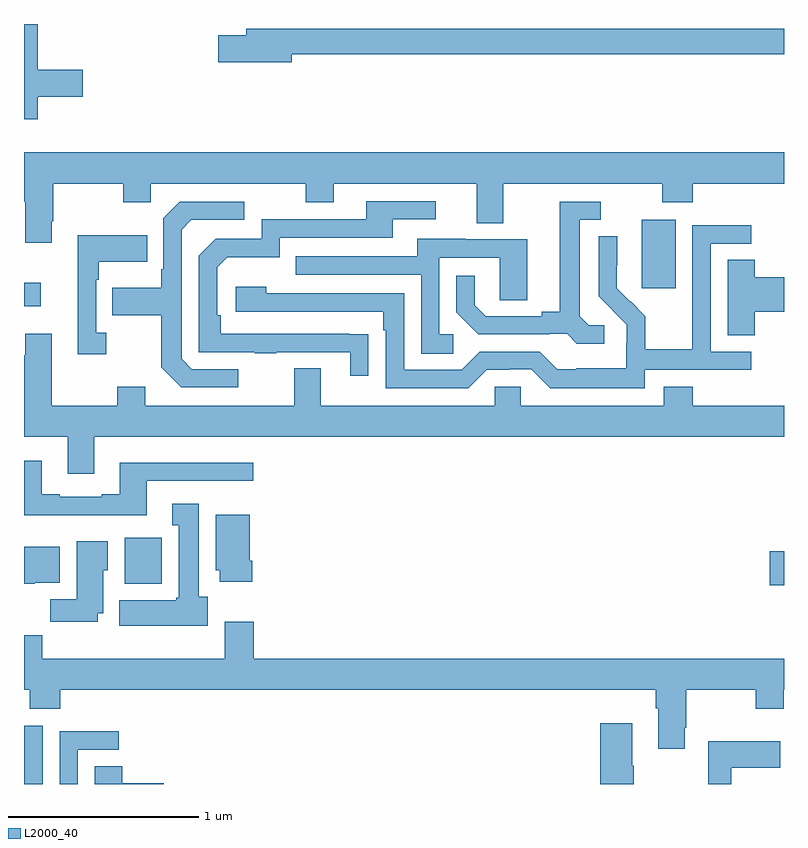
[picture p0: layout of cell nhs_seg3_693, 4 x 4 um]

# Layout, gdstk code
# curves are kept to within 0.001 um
import gdstk
lib = gdstk.Library(unit=1e-6, precision=1e-09)
def R(c, l, rs):  # rectangles x0, y0, x1, y1
    for r in rs: c.add(gdstk.rectangle(r[:2], r[2:], *l))
def P(c, l, *ps):  # polygons
    for p in ps: c.add(gdstk.Polygon(p, *l))
L2000_40 = (2000, 40)

nhs_seg3_693 = lib.new_cell('nhs_seg3_693')
R(nhs_seg3_693, L2000_40, [(145,720.4,145.099,720.706), (148.926,721.447,149,721.625), (145.529,721.454,145.726,721.696), (145,722.915,145.087,723.037), (148.25,723.009,148.429,723.37)])
P(nhs_seg3_693, L2000_40, [(145.073,724.018),(145.309,724.018),(145.309,724.16),(145.073,724.16),(145.073,724.4),(145,724.4),(145,723.9),(145.073,723.9)],
  [(146.41,724.24),(149,724.24),(149,724.376),(146.171,724.376),(146.171,724.34),(146.022,724.34),(146.022,724.198),(146.41,724.198)],
  [(145.147,723.361),(145.155,723.361),(145.155,723.56),(145.522,723.56),(145.522,723.461),(145.668,723.461),(145.668,723.56),(146.482,723.56),(146.482,723.461),(146.629,723.461),(146.629,723.56),(147.383,723.56),(147.383,723.352),(147.523,723.352),(147.523,723.56),(148.36,723.56),(148.36,723.461),(148.52,723.461),(148.52,723.56),(149,723.56),(149,723.724),(145,723.724),(145,723.464),(145.007,723.464),(145.007,723.249),(145.147,723.249)],
  [(146.813,722.768),(146.036,722.769),(146.036,722.866),(146.016,722.866),(146.016,723.12),(146.069,723.173),(146.346,723.173),(146.346,723.276),(146.941,723.276),(146.941,723.372),(147.166,723.372),(147.166,723.468),(146.801,723.468),(146.801,723.372),(146.25,723.372),(146.25,723.27),(146.01,723.27),(145.92,723.18),(145.92,722.673),(146.215,722.673),(146.215,722.668),(146.327,722.668),(146.327,722.673),(146.717,722.673),(146.717,722.55),(146.813,722.55)],
  [(146.128,722.583),(145.884,722.583),(145.83,722.637),(145.83,723.318),(145.881,723.369),(146.158,723.369),(146.158,723.465),(145.821,723.465),(145.734,723.378),(145.734,723.109),(145.722,723.109),(145.722,723.013),(145.465,723.013),(145.465,722.866),(145.722,722.866),(145.722,722.593),(145.827,722.487),(146.128,722.487)],
  [(148.054,722.814),(147.972,722.814),(147.925,722.861),(147.925,723.369),(148.036,723.369),(148.036,723.465),(147.821,723.465),(147.821,722.885),(147.725,722.885),(147.725,722.862),(147.43,722.862),(147.373,722.919),(147.373,723.076),(147.276,723.076),(147.276,722.882),(147.392,722.766),(147.764,722.766),(147.764,722.769),(147.858,722.769),(147.91,722.717),(148.054,722.717)],
  [(148.266,722.58),(148.828,722.58),(148.828,722.676),(148.614,722.676),(148.614,723.243),(148.828,723.243),(148.828,723.342),(148.518,723.342),(148.518,722.912),(148.516,722.912),(148.516,722.689),(148.271,722.689),(148.271,722.863),(148.194,722.94),(148.191,722.937),(148.121,723.008),(148.122,723.284),(148.026,723.284),(148.026,722.966),(148.172,722.818),(148.172,722.721),(148.17,722.721),(148.17,722.587),(147.907,722.587),(147.907,722.583),(147.807,722.583),(147.714,722.676),(147.399,722.676),(147.303,722.58),(147,722.58),(147,722.982),(146.276,722.982),(146.276,723.016),(146.115,723.016),(146.115,722.886),(146.891,722.886),(146.891,722.789),(146.904,722.789),(146.904,722.484),(147.339,722.484),(147.435,722.58),(147.554,722.58),(147.554,722.583),(147.669,722.583),(147.769,722.483),(148.266,722.483)],
  [(145.432,722.774),(145.38,722.774),(145.38,723.053),(145.393,723.053),(145.393,723.149),(145.649,723.149),(145.649,723.289),(145.283,723.289),(145.283,722.661),(145.432,722.661)],
  [(147.259,722.766),(147.186,722.766),(147.186,723.171),(147.504,723.171),(147.504,722.947),(147.649,722.947),(147.649,723.267),(147.325,723.267),(147.325,723.271),(147.071,723.271),(147.071,723.177),(146.431,723.177),(146.431,723.081),(147.09,723.081),(147.09,722.665),(147.259,722.665)],
  [(148.847,722.885),(149,722.885),(149,723.068),(148.847,723.068),(148.847,723.158),(148.703,723.158),(148.703,722.761),(148.847,722.761)],
  [(145.369,722.228),(149,722.228),(149,722.392),(148.52,722.392),(148.52,722.491),(148.367,722.491),(148.367,722.392),(147.615,722.392),(147.615,722.49),(147.477,722.49),(147.477,722.392),(146.563,722.392),(146.563,722.587),(146.423,722.587),(146.423,722.392),(145.639,722.392),(145.639,722.491),(145.492,722.491),(145.492,722.392),(145.147,722.392),(145.147,722.77),(145.007,722.77),(145.007,722.657),(145,722.657),(145,722.228),(145.229,722.228),(145.229,722.034),(145.369,722.034)],
  [(145.645,721.995),(146.206,721.995),(146.206,722.092),(145.505,722.092),(145.505,721.924),(145.409,721.924),(145.409,721.911),(145.189,721.911),(145.189,721.924),(145.093,721.924),(145.093,722.101),(145,722.101),(145,721.814),(145.645,721.814)],
  [(145.966,721.386),(145.921,721.386),(145.921,721.876),(145.781,721.876),(145.781,721.763),(145.814,721.763),(145.814,721.38),(145.801,721.38),(145.801,721.366),(145.502,721.366),(145.502,721.232),(145.966,721.232)],
  [(146.201,721.576),(146.188,721.576),(146.188,721.816),(146.009,721.816),(146.009,721.524),(146.03,721.524),(146.03,721.464),(146.201,721.464)],
  [(145.387,721.298),(145.417,721.298),(145.417,721.524),(145.441,721.524),(145.441,721.678),(145.277,721.678),(145.277,721.372),(145.138,721.372),(145.138,721.254),(145.387,721.254)],
  [(145.056,721.46),(145.189,721.46),(145.189,721.648),(145,721.648),(145,721.454),(145.056,721.454)],
  [(148.477,720.697),(148.485,720.697),(148.485,720.896),(148.852,720.896),(148.852,720.797),(148.998,720.797),(148.998,720.896),(149,720.896),(149,721.06),(146.21,721.06),(146.21,721.255),(146.057,721.255),(146.057,721.06),(145.097,721.06),(145.097,721.184),(145,721.184),(145,720.896),(145.03,720.896),(145.03,720.797),(145.19,720.797),(145.19,720.896),(148.325,720.896),(148.325,720.8),(148.337,720.8),(148.337,720.585),(148.477,720.585)],
  [(148.209,720.497),(148.201,720.497),(148.201,720.721),(148.034,720.721),(148.034,720.4),(148.209,720.4)],
  [(145.284,720.579),(145.498,720.579),(145.498,720.678),(145.188,720.678),(145.188,720.4),(145.284,720.4)],
  [(148.723,720.485),(148.979,720.485),(148.979,720.625),(148.602,720.625),(148.602,720.4),(148.723,720.4)],
  [(145.735,720.404),(145.517,720.404),(145.517,720.494),(145.373,720.494),(145.373,720.4),(145.735,720.4)])

lib.write_gds('nhs_seg3_693.gds')
